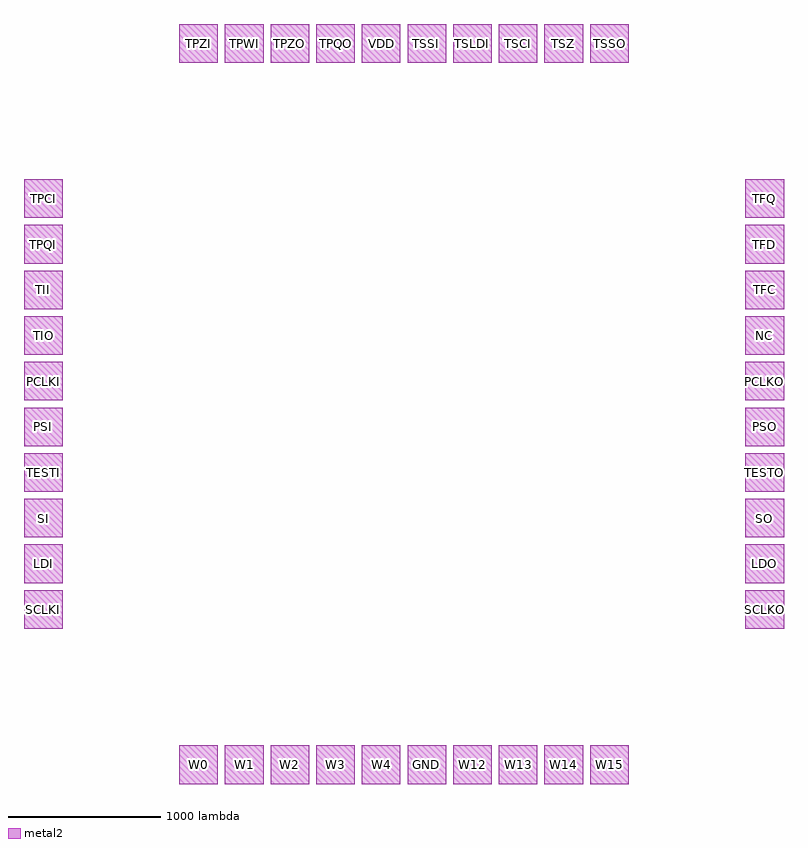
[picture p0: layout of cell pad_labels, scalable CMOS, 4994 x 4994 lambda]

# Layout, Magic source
magic
tech scmos
<< metal2 >>
rect 1023 4743 1277 4997
rect 1323 4743 1577 4997
rect 1623 4743 1877 4997
rect 1923 4743 2177 4997
rect 2223 4743 2477 4997
rect 2523 4743 2777 4997
rect 2823 4743 3077 4997
rect 3123 4743 3377 4997
rect 3423 4743 3677 4997
rect 3723 4743 3977 4997
rect 3 3723 257 3977
rect 4743 3723 4997 3977
rect 3 3423 257 3677
rect 4743 3423 4997 3677
rect 3 3123 257 3377
rect 4743 3123 4997 3377
rect 3 2823 257 3077
rect 4743 2823 4997 3077
rect 3 2523 257 2777
rect 4743 2523 4997 2777
rect 3 2223 257 2477
rect 4743 2223 4997 2477
rect 3 1923 257 2177
rect 4743 1923 4997 2177
rect 3 1623 257 1877
rect 4743 1623 4997 1877
rect 3 1323 257 1577
rect 4743 1323 4997 1577
rect 3 1023 257 1277
rect 4743 1023 4997 1277
rect 1023 3 1277 257
rect 1323 3 1577 257
rect 1623 3 1877 257
rect 1923 3 2177 257
rect 2223 3 2477 257
rect 2523 3 2777 257
rect 2823 3 3077 257
rect 3123 3 3377 257
rect 3423 3 3677 257
rect 3723 3 3977 257
<< labels >>
rlabel metal2 3 1023 257 1277 0 SCLKI
rlabel metal2 3 1323 257 1577 0 LDI
rlabel metal2 3 1623 257 1877 0 SI
rlabel metal2 3 1923 257 2177 0 TESTI
rlabel metal2 3 2223 257 2477 0 PSI
rlabel metal2 3 2523 257 2777 0 PCLKI
rlabel metal2 3 2823 257 3077 0 TIO
rlabel metal2 3 3123 257 3377 0 TII
rlabel metal2 3 3423 257 3677 0 TPQI
rlabel metal2 3 3723 257 3977 0 TPCI
rlabel metal2 1023 4743 1277 4997 0 TPZI
rlabel metal2 1323 4743 1577 4997 0 TPWI
rlabel metal2 1623 4743 1877 4997 0 TPZO
rlabel metal2 1923 4743 2177 4997 0 TPQO
rlabel metal2 2223 4743 2477 4997 0 VDD
rlabel metal2 2523 4743 2777 4997 0 TSSI
rlabel metal2 2823 4743 3077 4997 0 TSLDI
rlabel metal2 3123 4743 3377 4997 0 TSCI
rlabel metal2 3423 4743 3677 4997 0 TSZ
rlabel metal2 3723 4743 3977 4997 0 TSSO
rlabel metal2 4743 3723 4997 3977 0 TFQ
rlabel metal2 4743 3423 4997 3677 0 TFD
rlabel metal2 4743 3123 4997 3377 0 TFC
rlabel metal2 4743 2823 4997 3077 0 NC
rlabel metal2 4743 2523 4997 2777 0 PCLKO
rlabel metal2 4743 2223 4997 2477 0 PSO
rlabel metal2 4743 1923 4997 2177 0 TESTO
rlabel metal2 4743 1623 4997 1877 0 SO
rlabel metal2 4743 1323 4997 1577 0 LDO
rlabel metal2 4743 1023 4997 1277 0 SCLKO
rlabel metal2 3723 3 3977 257 0 W15
rlabel metal2 3423 3 3677 257 0 W14
rlabel metal2 3123 3 3377 257 0 W13
rlabel metal2 2823 3 3077 257 0 W12
rlabel metal2 2523 3 2777 257 0 GND
rlabel metal2 2223 3 2477 257 0 W4
rlabel metal2 1923 3 2177 257 0 W3
rlabel metal2 1623 3 1877 257 0 W2
rlabel metal2 1323 3 1577 257 0 W1
rlabel metal2 1023 3 1277 257 0 W0
<< end >>
